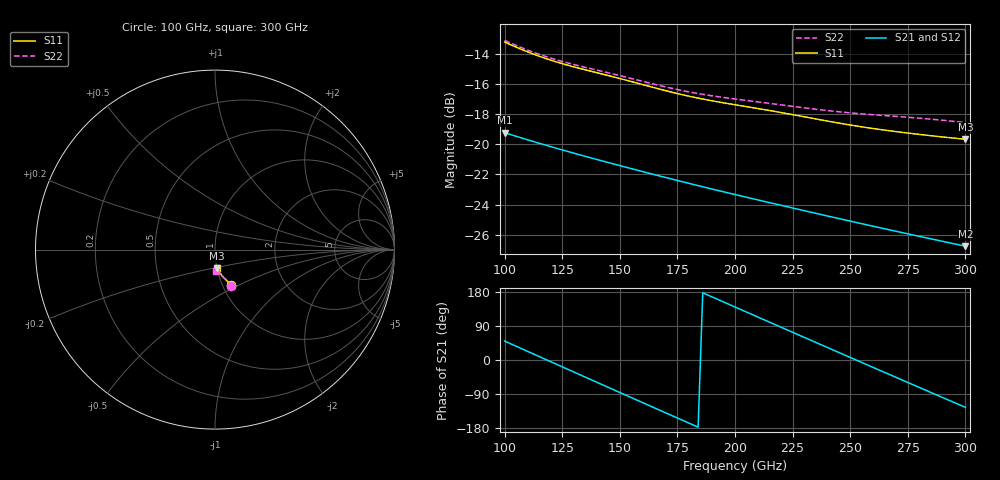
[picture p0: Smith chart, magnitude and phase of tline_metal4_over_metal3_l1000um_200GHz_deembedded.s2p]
! Created with skrf 2.2.0 (http://scikit-rf.org).
# GHz S DB R 50.0
! Port[1] = P1
! Port[2] = P2
!freq dBS11 angS11 dBS21 angS21 dBS12 angS12 dBS22 angS22
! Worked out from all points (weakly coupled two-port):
!   101 points, 100 GHz to 300 GHz, reference 50 ohm
!   highest |S21| = -19.24 dB at 100 GHz (marker M1); lowest = -26.8 dB at 300 GHz (marker M2)
!   lowest |S11| = -19.7 dB at 300 GHz (marker M3), VSWR 1.23, Z = 49.9 - j10.4 ohm
!   |S11| at or under -10 dB: start of sweep to end of sweep
!   |S22| runs from -18.6 to -13.1 dB; largest |S21 - S12| = 5.9e-14
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100  -13.24 -66.1  -19.24 49.9  -19.24 49.9  -13.14 -65.4
108  -13.77 -67.4  -19.62 28.2  -19.62 28.2  -13.65 -66.7
116  -14.23 -68.3  -19.99 6.4  -19.99 6.4  -14.10 -67.5
124  -14.63 -69.1  -20.34 -15.3  -20.34 -15.3  -14.48 -68.3
134  -15.04 -70.3  -20.77 -42.4  -20.77 -42.4  -14.88 -69.3
142  -15.35 -71.4  -21.10 -64.1  -21.10 -64.1  -15.17 -70.4
150  -15.66 -72.6  -21.42 -85.7  -21.42 -85.7  -15.47 -71.5
158  -15.98 -73.8  -21.74 -107.3  -21.74 -107.3  -15.77 -72.6
168  -16.38 -74.9  -22.14 -134.3  -22.14 -134.3  -16.14 -73.7
176  -16.69 -75.7  -22.44 -155.8  -22.44 -155.8  -16.42 -74.3
184  -16.95 -76.3  -22.75 -177.3  -22.75 -177.3  -16.65 -74.8
192  -17.19 -76.9  -23.05 161.3  -23.05 161.3  -16.84 -75.3
200  -17.39 -77.6  -23.34 139.9  -23.34 139.9  -17.01 -76.0
208  -17.59 -78.5  -23.62 118.5  -23.62 118.5  -17.17 -76.7
216  -17.80 -79.4  -23.91 97.2  -23.91 97.2  -17.32 -77.6
224  -18.02 -80.2  -24.19 75.8  -24.19 75.8  -17.48 -78.4
234  -18.30 -81.2  -24.54 49.2  -24.54 49.2  -17.67 -79.4
250  -18.73 -82.3  -25.10 6.8  -25.10 6.8  -17.93 -80.8
258  -18.92 -82.7  -25.37 -14.4  -25.37 -14.4  -18.03 -81.5
268  -19.13 -83.1  -25.71 -40.8  -25.71 -40.8  -18.14 -82.6
284  -19.42 -83.8  -26.24 -83.0  -26.24 -83.0  -18.33 -84.6
300  -19.68 -84.4  -26.76 -125.0  -26.76 -125.0  -18.57 -86.6
